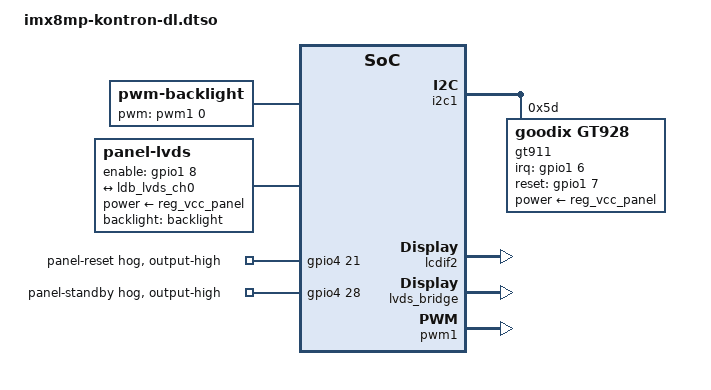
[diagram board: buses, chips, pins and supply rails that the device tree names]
// SPDX-License-Identifier: GPL-2.0+ OR MIT
/*
 * Copyright (C) 2023 Kontron Electronics GmbH
 */

/dts-v1/;
/plugin/;

#include <dt-bindings/gpio/gpio.h>
#include "imx8mp-pinfunc.h"

&{/} {
	model = "Kontron DL i.MX8MP OSM-S";
	compatible = "kontron,imx8mp-dl-osm-s", "kontron,imx8mp-bl-osm-s", "kontron,imx8mp-osm-s",
		     "fsl,imx8mp";

	backlight: backlight {
		compatible = "pwm-backlight";
		pwms = <&pwm1 0 50000 0>;
		brightness-levels = <0 100>;
		num-interpolated-steps = <100>;
		default-brightness-level = <100>;
	};

	panel {
		compatible = "panel-lvds";
		width-mm = <154>;
		height-mm = <86>;
		data-mapping = "vesa-24";
		backlight = <&backlight>;
		enable-gpios = <&gpio1 8 GPIO_ACTIVE_HIGH>;
		power-supply = <&reg_vcc_panel>;

		panel-timing {
			clock-frequency = <50000000>;
			hactive = <1024>;
			hback-porch = <80>;
			hfront-porch = <40>;
			hsync-len = <40>;
			vactive = <600>;
			vback-porch = <10>;
			vfront-porch = <3>;
			vsync-len = <10>;
			hsync-active = <0>;
			vsync-active = <0>;
			de-active = <1>;
			pixelclk-active = <0>;
		};

		port {
			panel_in_lvds0: endpoint {
				remote-endpoint = <&ldb_lvds_ch0>;
			};
		};
	};
};

&gpio4 {
	panel_rst {
		gpio-hog;
		gpios = <21 GPIO_ACTIVE_HIGH>;
		output-high;
		line-name = "panel-reset";
	};

	panel_stby {
		gpio-hog;
		gpios = <28 GPIO_ACTIVE_HIGH>;
		output-high;
		line-name = "panel-standby";
		pinctrl-names = "default";
		pinctrl-0 = <&pinctrl_panel_stby>;
	};
};

&i2c1 {
	status = "okay";

	gt911@5d {
		compatible = "goodix,gt928";
		reg = <0x5d>;
		interrupt-parent = <&gpio1>;
		interrupts = <6 8>;
		irq-gpios = <&gpio1 6 0>;
		power-supply = <&reg_vcc_panel>;
		reset-gpios = <&gpio1 7 0>;
	};
};

&lcdif2 {
	status = "okay";
};

&ldb_lvds_ch0 {
	remote-endpoint = <&panel_in_lvds0>;
};

&lvds_bridge {
	status = "okay";
};

&pwm1 {
	status = "okay";
};

&iomuxc {
	pinctrl_panel_stby: panelstbygrp {
		fsl,pins = <
			MX8MP_IOMUXC_SAI3_RXFS__GPIO4_IO28		0x19
		>;
	};
};
